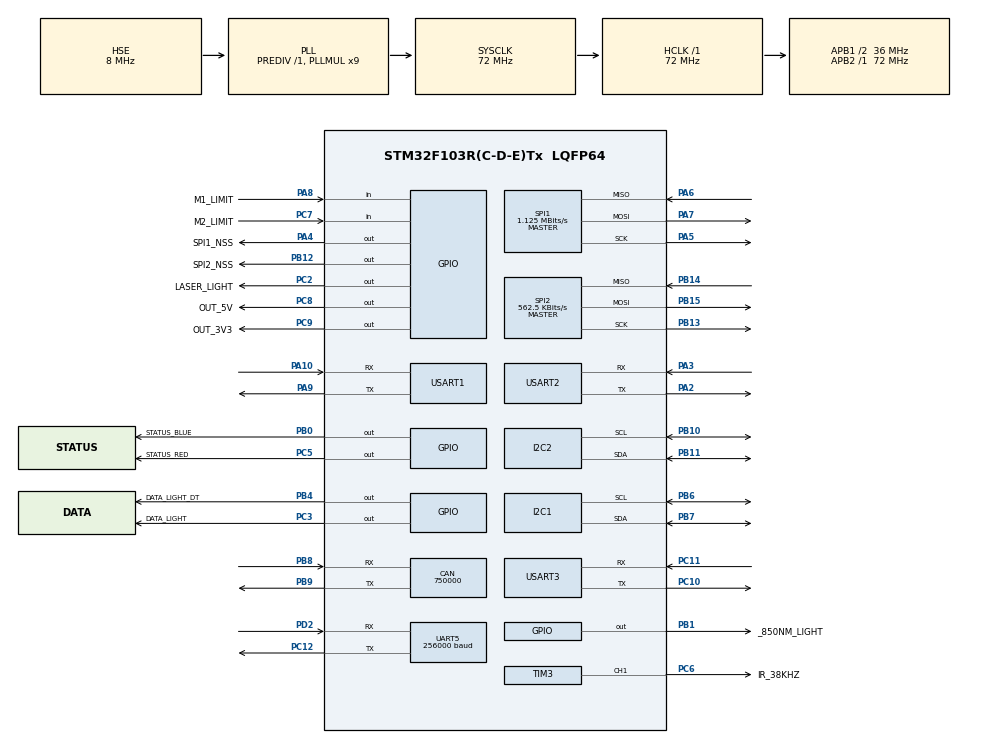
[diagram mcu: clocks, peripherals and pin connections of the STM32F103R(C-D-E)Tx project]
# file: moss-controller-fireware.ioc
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CAN.BS1=CAN_BS1_1TQ
CAN.BS2=CAN_BS2_1TQ
CAN.CalculateBaudRate=750000
CAN.CalculateTimeBit=1333.33
CAN.CalculateTimeQuantum=444.44444444444446
FREERTOS.Queues01=serialDataQueue,10,uint32_t,0,Dynamic,NULL,NULL;oledDataQeue,10,uint32_t,0,Dynamic,NULL,NULL;bodySensorDataQueue,10,uint32_t,0,Dynamic,NULL,NULL
FREERTOS.Tasks01=mainLoopWorker,0,256,StartMainTask,Default,NULL,Dynamic,NULL,NULL
FREERTOS.configMINIMAL_STACK_SIZE=256
FREERTOS.configTICK_RATE_HZ=500
FREERTOS.configTOTAL_HEAP_SIZE=60000
I2C1.I2C_Mode=I2C_Fast
Mcu.Family=STM32F1
Mcu.Name=STM32F103R(C-D-E)Tx
Mcu.Package=LQFP64
NVIC.PriorityGroup=NVIC_PRIORITYGROUP_4
NVIC.TIM1_UP_IRQn=true\:0\:0\:false\:false\:true\:false\:false\:true
NVIC.TimeBase=TIM1_UP_IRQn
NVIC.TimeBaseIP=TIM1
NVIC.UART5_IRQn=true\:5\:0\:false\:false\:true\:true\:true\:true
NVIC.USART1_IRQn=true\:5\:0\:false\:false\:true\:true\:true\:true
NVIC.USART2_IRQn=true\:5\:0\:false\:false\:true\:true\:true\:true
NVIC.USART3_IRQn=true\:5\:0\:false\:false\:true\:true\:true\:true
PA10.Mode=Asynchronous
PA10.Signal=USART1_RX
PA13.Mode=Serial_Wire
PA13.Signal=SYS_JTMS-SWDIO
PA14.Mode=Serial_Wire
PA14.Signal=SYS_JTCK-SWCLK
PA2.Mode=Asynchronous
PA2.Signal=USART2_TX
PA3.Mode=Asynchronous
PA3.Signal=USART2_RX
PA4.GPIO_Label=SPI1_NSS
PA4.GPIO_PuPd=GPIO_PULLUP
PA4.Signal=GPIO_Output
PA5.Mode=Full_Duplex_Master
PA5.Signal=SPI1_SCK
PA6.Mode=Full_Duplex_Master
PA6.Signal=SPI1_MISO
PA7.Mode=Full_Duplex_Master
PA7.Signal=SPI1_MOSI
PA8.GPIO_Label=M1_LIMIT
PA8.Signal=GPIO_Input
PA9.Mode=Asynchronous
PA9.Signal=USART1_TX
PB0.GPIO_Label=STATUS_BLUE
PB0.Signal=GPIO_Output
PB1.GPIO_Label=_850NM_LIGHT
PB1.Signal=GPIO_Output
PB10.Mode=I2C
PB10.Signal=I2C2_SCL
PB11.Mode=I2C
PB11.Signal=I2C2_SDA
PB12.GPIO_Label=SPI2_NSS
PB12.Signal=GPIO_Output
PB13.Mode=Full_Duplex_Master
PB13.Signal=SPI2_SCK
PB14.Mode=Full_Duplex_Master
PB14.Signal=SPI2_MISO
PB15.Mode=Full_Duplex_Master
PB15.Signal=SPI2_MOSI
PB4.GPIO_Label=DATA_LIGHT_DT
PB4.Signal=GPIO_Output
PB6.Mode=I2C
PB6.Signal=I2C1_SCL
PB7.Mode=I2C
PB7.Signal=I2C1_SDA
PB8.Mode=CAN_Activate
PB8.Signal=CAN_RX
PB9.Mode=CAN_Activate
PB9.Signal=CAN_TX
PC10.Mode=Asynchronous
PC10.Signal=USART3_TX
PC11.Mode=Asynchronous
PC11.Signal=USART3_RX
PC12.Mode=Asynchronous
PC12.Signal=UART5_TX
PC2.GPIO_Label=LASER_LIGHT
PC2.Signal=GPIO_Output
PC3.GPIO_Label=DATA_LIGHT
PC3.PinState=GPIO_PIN_RESET
PC3.Signal=GPIO_Output
PC5.GPIO_Label=STATUS_RED
PC5.Signal=GPIO_Output
PC6.GPIO_Label=IR_38KHZ
PC6.Signal=S_TIM3_CH1
PC7.GPIO_Label=M2_LIMIT
PC7.GPIO_PuPd=GPIO_PULLUP
PC7.Signal=GPIO_Input
PC8.GPIO_Label=OUT_5V
PC8.Signal=GPIO_Output
PC9.GPIO_Label=OUT_3V3
PC9.Signal=GPIO_Output
PD0-OSC_IN.Mode=HSE-External-Oscillator
PD0-OSC_IN.Signal=RCC_OSC_IN
PD1-OSC_OUT.Mode=HSE-External-Oscillator
PD1-OSC_OUT.Signal=RCC_OSC_OUT
PD2.Mode=Asynchronous
PD2.Signal=UART5_RX
ProjectManager.HeapSize=0x200
ProjectManager.StackSize=0x400
ProjectManager.TargetToolchain=MDK-ARM V5.27
RCC.AHBFreq_Value=72000000
RCC.APB1CLKDivider=RCC_HCLK_DIV2
RCC.APB1Freq_Value=36000000
RCC.APB1TimFreq_Value=72000000
RCC.APB2Freq_Value=72000000
RCC.APB2TimFreq_Value=72000000
RCC.EnbaleCSS=true
RCC.HCLKFreq_Value=72000000
RCC.PLLMUL=RCC_PLL_MUL9
RCC.PLLSourceVirtual=RCC_PLLSOURCE_HSE
RCC.SYSCLKFreq_VALUE=72000000
RCC.SYSCLKSource=RCC_SYSCLKSOURCE_PLLCLK
RCC.USBFreq_Value=72000000
SH.S_TIM3_CH1.0=TIM3_CH1,PWM Generation1 CH1
SPI1.BaudRatePrescaler=SPI_BAUDRATEPRESCALER_64
SPI1.CLKPhase=SPI_PHASE_2EDGE
SPI1.CLKPolarity=SPI_POLARITY_HIGH
SPI1.CalculateBaudRate=1.125 MBits/s
SPI1.Direction=SPI_DIRECTION_2LINES
SPI1.Mode=SPI_MODE_MASTER
SPI1.VirtualType=VM_MASTER
SPI2.BaudRatePrescaler=SPI_BAUDRATEPRESCALER_64
SPI2.CLKPhase=SPI_PHASE_2EDGE
SPI2.CLKPolarity=SPI_POLARITY_HIGH
SPI2.CalculateBaudRate=562.5 KBits/s
SPI2.Direction=SPI_DIRECTION_2LINES
SPI2.Mode=SPI_MODE_MASTER
SPI2.VirtualType=VM_MASTER
TIM2.Period=1
TIM2.Prescaler=71
TIM3.Channel-PWM\ Generation1\ CH1=TIM_CHANNEL_1
TIM3.Period=99
TIM3.Prescaler=18
UART5.BaudRate=256000
UART5.VirtualMode=Asynchronous
USART1.VirtualMode=VM_ASYNC
USART2.VirtualMode=VM_ASYNC
USART3.VirtualMode=VM_ASYNC
VP_FREERTOS_VS_CMSIS_V1.Mode=CMSIS_V1
VP_SYS_VS_tim1.Mode=TIM1
VP_TIM2_VS_ClockSourceINT.Mode=Internal
VP_TIM3_VS_ClockSourceINT.Mode=Internal
board=custom

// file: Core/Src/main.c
/* USER CODE BEGIN Header */
/**
  ******************************************************************************
  * @file           : main.c
  * @brief          : Main program body
  ******************************************************************************
  * @attention
  *
  * <h2><center>&copy; Copyright (c) 2023 STMicroelectronics.
  * All rights reserved.</center></h2>
  *
  * This software component is licensed by ST under Ultimate Liberty license
  * SLA0044, the "License"; You may not use this file except in compliance with
  * the License. You may obtain a copy of the License at:
  *                             www.st.com/SLA0044
  *
  ******************************************************************************
  */
/* USER CODE END Header */
#include "main.h"
#include "cmsis_os.h"
#include "can.h"
#include "i2c.h"
#include "spi.h"
#include "tim.h"
#include "usart.h"
#include "gpio.h"

/* USER CODE BEGIN Includes */
#include "stdio.h"
#include "stdlib.h"
/* USER CODE END Includes */

void SystemClock_Config(void);
void MX_FREERTOS_Init(void);

int main(void)
{

  /* MCU Configuration--------------------------------------------------------*/

  /* Reset of all peripherals, Initializes the Flash interface and the Systick. */
  HAL_Init();

  /* Configure the system clock */
  SystemClock_Config();

  /* Initialize all configured peripherals */
  MX_GPIO_Init();
  MX_CAN_Init();
  MX_I2C1_Init();
  MX_I2C2_Init();
  MX_SPI1_Init();
  MX_SPI2_Init();
  MX_TIM2_Init();
  MX_TIM3_Init();
  MX_USART1_UART_Init();
  MX_USART2_UART_Init();
  MX_USART3_UART_Init();
  MX_UART5_Init();

  /* Call init function for freertos objects (in freertos.c) */
  MX_FREERTOS_Init();
  /* Start scheduler */
  osKernelStart();

  /* We should never get here as control is now taken by the scheduler */
  /* Infinite loop */
  while (1)
  {

  }
}

void SystemClock_Config(void)
{
  RCC_OscInitTypeDef RCC_OscInitStruct = {0};
  RCC_ClkInitTypeDef RCC_ClkInitStruct = {0};

  /** Initializes the RCC Oscillators according to the specified parameters
  * in the RCC_OscInitTypeDef structure.
  */
  RCC_OscInitStruct.OscillatorType = RCC_OSCILLATORTYPE_HSE;
  RCC_OscInitStruct.HSEState = RCC_HSE_ON;
  RCC_OscInitStruct.HSEPredivValue = RCC_HSE_PREDIV_DIV1;
  RCC_OscInitStruct.HSIState = RCC_HSI_ON;
  RCC_OscInitStruct.PLL.PLLState = RCC_PLL_ON;
  RCC_OscInitStruct.PLL.PLLSource = RCC_PLLSOURCE_HSE;
  RCC_OscInitStruct.PLL.PLLMUL = RCC_PLL_MUL9;
  if (HAL_RCC_OscConfig(&RCC_OscInitStruct) != HAL_OK)
  {
    Error_Handler();
  }
  /** Initializes the CPU, AHB and APB buses clocks
  */
  RCC_ClkInitStruct.ClockType = RCC_CLOCKTYPE_HCLK|RCC_CLOCKTYPE_SYSCLK
                              |RCC_CLOCKTYPE_PCLK1|RCC_CLOCKTYPE_PCLK2;
  RCC_ClkInitStruct.SYSCLKSource = RCC_SYSCLKSOURCE_PLLCLK;
  RCC_ClkInitStruct.AHBCLKDivider = RCC_SYSCLK_DIV1;
  RCC_ClkInitStruct.APB1CLKDivider = RCC_HCLK_DIV2;
  RCC_ClkInitStruct.APB2CLKDivider = RCC_HCLK_DIV1;

  if (HAL_RCC_ClockConfig(&RCC_ClkInitStruct, FLASH_LATENCY_2) != HAL_OK)
  {
    Error_Handler();
  }
  /** Enables the Clock Security System
  */
  HAL_RCC_EnableCSS();
}

 /**
  * @brief  Period elapsed callback in non blocking mode
  * @note   This function is called  when TIM1 interrupt took place, inside
  * HAL_TIM_IRQHandler(). It makes a direct call to HAL_IncTick() to increment
  * a global variable "uwTick" used as application time base.
  * @param  htim : TIM handle
  * @retval None
  */
void HAL_TIM_PeriodElapsedCallback(TIM_HandleTypeDef *htim)
{
  if (htim->Instance == TIM1) {
    HAL_IncTick();
  }
}

void Error_Handler(void)
{
  __disable_irq();
  while (1)
  {
  }
}

/************************ (C) COPYRIGHT STMicroelectronics *****END OF FILE****/

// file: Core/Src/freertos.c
/* USER CODE BEGIN Header */
/**
 ******************************************************************************
 * File Name          : freertos.c
 * Description        : Code for freertos applications
 ******************************************************************************
 * @attention
 *
 * <h2><center>&copy; Copyright (c) 2023 STMicroelectronics.
 * All rights reserved.</center></h2>
 *
 * This software component is licensed by ST under Ultimate Liberty license
 * SLA0044, the "License"; You may not use this file except in compliance with
 * the License. You may obtain a copy of the License at:
 *                             www.st.com/SLA0044
 *
 ******************************************************************************
 */
/* USER CODE END Header */

#include "FreeRTOS.h"
#include "task.h"
#include "main.h"
#include "cmsis_os.h"

/* USER CODE BEGIN Includes */
#include "stdio.h"
#include "config.h"
#include "motor.h"
#include "oled.h"
#include "humiture_sensor.h"
#include "body_sensor.h"
#include "logger.h"
#include "messager.h"
#include "protocol.h"
#include "device.h"
/* USER CODE END Includes */

/* USER CODE BEGIN Variables */
Messager_Handle *pmgr;

MOTOR_Handle *pmotorX;
MOTOR_Handle *pmotorY;

HumitureSensor_Handle* phs;
BodySensor_Handle* pbs;

OLED_Handle *poled;

SemaphoreHandle_t printSemaphoreHandle = NULL;

/* USER CODE END Variables */
osThreadId mainLoopWorkerHandle;
osMessageQId serialDataQueueHandle;
osMessageQId oledDataQeueHandle;
osMessageQId bodySensorDataQueueHandle;

/* USER CODE BEGIN FunctionPrototypes */
void MOTOR_HandleTask(void);
void OLED_HandleTask(void);
void EnvCollection_HandleTask(void);
void Message_HandleTask(void);
/* USER CODE END FunctionPrototypes */

void StartMainTask(void const * argument);

void MX_FREERTOS_Init(void); /* (MISRA C 2004 rule 8.1) */

/* GetIdleTaskMemory prototype (linked to static allocation support) */
void vApplicationGetIdleTaskMemory( StaticTask_t **ppxIdleTaskTCBBuffer, StackType_t **ppxIdleTaskStackBuffer, uint32_t *pulIdleTaskStackSize );

/* USER CODE BEGIN GET_IDLE_TASK_MEMORY */
static StaticTask_t xIdleTaskTCBBuffer;
static StackType_t xIdleStack[configMINIMAL_STACK_SIZE];

void vApplicationGetIdleTaskMemory(StaticTask_t **ppxIdleTaskTCBBuffer, StackType_t **ppxIdleTaskStackBuffer, uint32_t *pulIdleTaskStackSize)
{
  *ppxIdleTaskTCBBuffer = &xIdleTaskTCBBuffer;
  *ppxIdleTaskStackBuffer = &xIdleStack[0];
  *pulIdleTaskStackSize = configMINIMAL_STACK_SIZE;
  /* place for user code */
}
/* USER CODE END GET_IDLE_TASK_MEMORY */

void MX_FREERTOS_Init(void) {

  /* USER CODE BEGIN RTOS_MUTEX */
  printSemaphoreHandle = xSemaphoreCreateMutex();
  /* USER CODE END RTOS_MUTEX */

  /* Create the queue(s) */
  /* definition and creation of serialDataQueue */
  osMessageQDef(serialDataQueue, 10, uint32_t);
  serialDataQueueHandle = osMessageCreate(osMessageQ(serialDataQueue), NULL);

  /* definition and creation of oledDataQeue */
  osMessageQDef(oledDataQeue, 10, uint32_t);
  oledDataQeueHandle = osMessageCreate(osMessageQ(oledDataQeue), NULL);

  /* definition and creation of bodySensorDataQueue */
  osMessageQDef(bodySensorDataQueue, 10, uint32_t);
  bodySensorDataQueueHandle = osMessageCreate(osMessageQ(bodySensorDataQueue), NULL);

  /* Create the thread(s) */
  /* definition and creation of mainLoopWorker */
  osThreadDef(mainLoopWorker, StartMainTask, osPriorityNormal, 0, 256);
  mainLoopWorkerHandle = osThreadCreate(osThread(mainLoopWorker), NULL);

}

void StartMainTask(void const * argument)
{
  /* USER CODE BEGIN StartMainTask */

  /* Infinite loop */

  //创建消息处理任务
  while (CreateTask("Message_HandleTask", Message_HandleTask, osPriorityHigh, 256) != HAL_OK)
  {
    LogInfo("Message Handle Task Create Failed");
    osDelay(100);
  }
  LogInfo("Message Handle Task Created");

  //创建OLED处理任务
  while (CreateTask("OLED_HandleTask", OLED_HandleTask, osPriorityBelowNormal, 256) != HAL_OK)
  {
    LogInfo("OLED Handle Task Create Failed");
    osDelay(100);
  }
  LogInfo("OLED Handle Task Created");

  //创建电机处理任务
  while (CreateTask("Motor_HandleTask", MOTOR_HandleTask, osPriorityBelowNormal, 192) != HAL_OK)
  {
    LogInfo("MOTOR Handle Task Create Failed");
    osDelay(100);
  }
  LogInfo("Motor Handle Task Created");

  //创建环境采集处理任务
  while (CreateTask("EnvCollection_HandleTask", EnvCollection_HandleTask, osPriorityIdle, 768) != HAL_OK)
  {
    LogInfo("EnvCollection Handle Task Create Failed");
    osDelay(100);
  }
  LogInfo("EnvCollection Handle Task Created");

  Device_DatalightOpen();  //初始化完毕后开启数据灯

  while (1)
    osDelay(2000);
  /* USER CODE END StartMainTask */
}

/* USER CODE BEGIN Application */
void MOTOR_HandleTask()
{
  pmotorX = MOTOR_Init(&X_MOTOR_HSPI, X_MOTOR_CS_GPIO_PORT, X_MOTOR_CS_PIN, X_MOTOR_LIMIT_GPIO_PORT, X_MOTOR_LIMIT_PIN, X_MOTOR_IRUN, X_MOTOR_IHOLD, X_MOTOR_IHOLDDELAY);
  pmotorY = MOTOR_Init(&Y_MOTOR_HSPI, Y_MOTOR_CS_GPIO_PORT, Y_MOTOR_CS_PIN, Y_MOTOR_LIMIT_GPIO_PORT, Y_MOTOR_LIMIT_PIN, Y_MOTOR_IRUN, Y_MOTOR_IHOLD, Y_MOTOR_IHOLDDELAY);
  while (1)
  {

    MOTOR_Rotate(pmotorX, 30000);
    MOTOR_Rotate(pmotorY, 30000);

    osDelay(500);
  }
}

void OLED_HandleTask()
{
  poled = OLED_Init(&OLED_HI2C, oledDataQeueHandle, OLED_TEXT_FONT, OLED_TEXT_MAX_WIDTH, OLED_TEXT_MAX_HEIGHT, OLED_TEXT_CHAR_WIDTH, OLED_TEXT_CHAR_HEIGHT, OLED_TEXT_BUFFER_LENGTH, OLED_TEXT_BUFFER_COUNT, OLED_TEXT_TYPING_INTERVAL);
  while (1)
    OLED_MessageHandle(poled);
}

volatile int IntCount;
#define isAutonomousExample 1 /* Allow to select either autonomous ranging or fast ranging example */
#define isInterrupt 1         /* If isInterrupt = 1 then device working in interrupt mode, else device working in polling mode */

void EnvCollection_HandleTask()
{
  phs = HumitureSensor_Init(&HUMITURE_SENSOR_HI2C);
  pbs = BodySensor_Init(&BODY_SENSOR_SERIAL_PORT_HUART, bodySensorDataQueueHandle, BODY_SENSOR_SERIAL_PORT_TEMP_BUFFER_COUNT, BODY_SENSOR_SERIAL_PORT_RX_TIMEOUT);
  if (BodySensor_Listen(pbs) != HAL_OK)
    LogError("BodySensor Listen Failed");
  while(1) {
    HumitureSensor_MeasureData *humitureSensorMeasureData = HumitureSensor_Measuring(phs);
    if(humitureSensorMeasureData == NULL) {
      LogWarn("HumitureSensor Measuring Failed");
      HumitureSensor_Reset(phs);
      osDelay(500);
      continue;
    }
    uint8_t str1[30];
    uint8_t str2[30];
    memset(str1, 0, sizeof(uint8_t) * 30);
    memset(str2, 0, sizeof(uint8_t) * 30);
    sprintf((char *)str1, "Temperature: %2.2f", humitureSensorMeasureData->temperature);
    sprintf((char *)str2, "Humidity: %2.2f", humitureSensorMeasureData->humidity);
    HumitureSensor_FreeMeasureData(humitureSensorMeasureData);
    OLED_PushString(poled, str1);
    OLED_PushString(poled, str2);
    BodySensor_MeasureData *bodySensorMeasureData = BodySensor_Measuring(pbs);
    BodySensor_FreeMeasureData(bodySensorMeasureData);
    osDelay(1000);
  }
}

void Message_HandleTask()
{
  pmgr = Messager_Init(&UPPER_COMPUTER_SERIAL_PORT_HUART, serialDataQueueHandle, UPPER_COMPUTER_SERIAL_PORT_BUFFER_SIZE, UPPER_COMPUTER_SERIAL_PORT_TEMP_BUFFER_COUNT, UPPER_COMPUTER_SERIAL_PORT_TX_TIMEOUT, UPPER_COMPUTER_SERIAL_PORT_RX_TIMEOUT);
  if (Messager_Listen(pmgr) != HAL_OK)
    LogError("Messager Listen Failed");
  while (1)
    Messager_MessageHandle(pmgr);
}

void HAL_UART_TxCpltCallback(UART_HandleTypeDef *huart)
{
  if (huart->Instance == pmgr->huart->Instance)
    Messager_TxCpltCallback(pmgr);
}

void HAL_UART_RxCpltCallback(UART_HandleTypeDef *huart)
{
  if (huart->Instance == pmgr->huart->Instance)
    Messager_RxCpltCallback(pmgr);
  if (huart->Instance == pbs->huart->Instance)
    BodySensor_RxCpltCallback(pbs);
}
/* USER CODE END Application */

/************************ (C) COPYRIGHT STMicroelectronics *****END OF FILE****/
